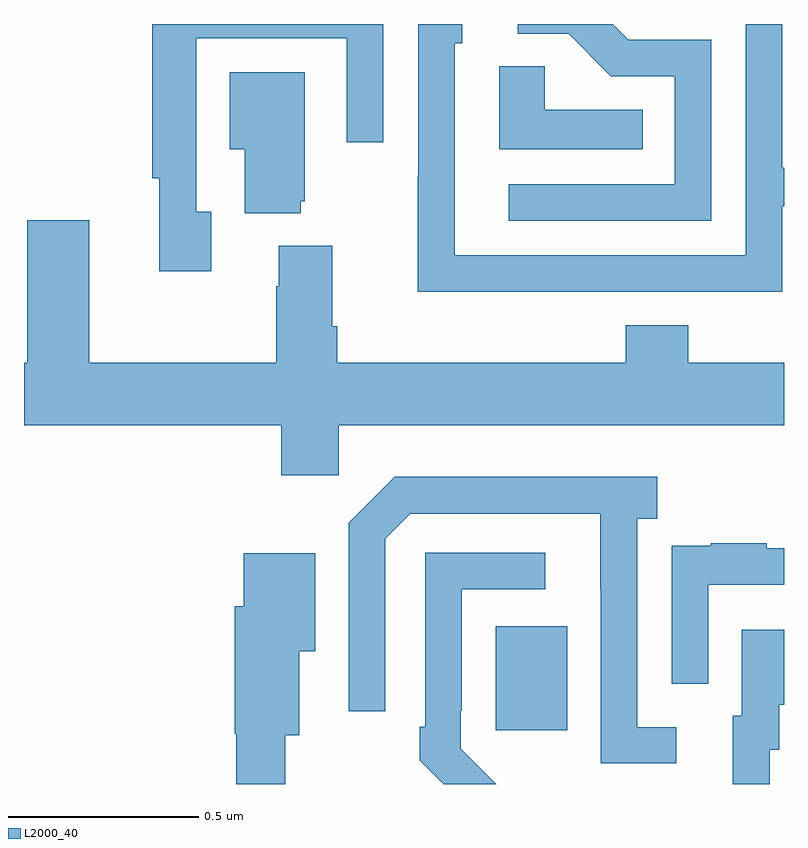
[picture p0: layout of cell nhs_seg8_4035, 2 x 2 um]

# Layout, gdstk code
import gdstk
lib = gdstk.Library(unit=1e-6, precision=1e-09)
def R(c, l, rs):  # rectangles x0, y0, x1, y1
    for r in rs: c.add(gdstk.rectangle(r[:2], r[2:], *l))
def P(c, l, *ps):  # polygons
    for p in ps: c.add(gdstk.Polygon(p, *l))
L2000_40 = (2000, 40)

nhs_seg8_4035 = lib.new_cell('nhs_seg8_4035')
R(nhs_seg8_4035, L2000_40, [(166.241,1105.041,166.429,1105.315)])
P(nhs_seg8_4035, L2000_40, [(166.499,1106.196),(166.995,1106.196),(166.995,1106.421),(167,1106.421),(167,1106.522),(166.995,1106.522),(166.995,1106.9),(166.899,1106.9),(166.899,1106.292),(166.134,1106.292),(166.134,1106.85),(166.153,1106.85),(166.153,1106.9),(166.038,1106.9),(166.038,1106.501),(166.036,1106.501),(166.036,1106.195),(166.499,1106.195)],
  [(165.493,1106.406),(165.453,1106.406),(165.453,1106.862),(165.849,1106.862),(165.849,1106.589),(165.945,1106.589),(165.945,1106.9),(165.337,1106.9),(165.337,1106.494),(165.356,1106.494),(165.356,1106.25),(165.493,1106.25)],
  [(166.809,1106.859),(166.59,1106.859),(166.549,1106.9),(166.299,1106.9),(166.299,1106.874),(166.433,1106.874),(166.544,1106.763),(166.713,1106.763),(166.713,1106.478),(166.275,1106.478),(166.275,1106.382),(166.809,1106.382)],
  [(166.628,1106.674),(166.371,1106.674),(166.371,1106.789),(166.25,1106.789),(166.25,1106.57),(166.628,1106.57)],
  [(165.728,1106.433),(165.739,1106.433),(165.739,1106.773),(165.542,1106.773),(165.542,1106.57),(165.581,1106.57),(165.581,1106.402),(165.728,1106.402)],
  [(165.828,1105.844),(167,1105.844),(167,1106.008),(166.748,1106.008),(166.748,1106.107),(166.583,1106.107),(166.583,1106.008),(165.824,1106.008),(165.824,1106.104),(165.811,1106.104),(165.811,1106.317),(165.671,1106.317),(165.671,1106.21),(165.664,1106.21),(165.664,1106.008),(165.172,1106.008),(165.172,1106.383),(165.008,1106.383),(165.008,1106.008),(165,1106.008),(165,1105.844),(165.677,1105.844),(165.677,1105.713),(165.828,1105.713)],
  [(166.717,1105.05),(166.614,1105.05),(166.614,1105.598),(166.666,1105.598),(166.666,1105.708),(165.976,1105.708),(165.855,1105.587),(165.855,1105.092),(165.951,1105.092),(165.951,1105.545),(166.017,1105.611),(166.517,1105.611),(166.517,1105.411),(166.518,1105.411),(166.518,1104.954),(166.717,1104.954)],
  [(166.8,1105.425),(167,1105.425),(167,1105.521),(166.955,1105.521),(166.955,1105.534),(166.807,1105.534),(166.807,1105.527),(166.705,1105.527),(166.705,1105.418),(166.704,1105.418),(166.704,1105.164),(166.8,1105.164)],
  [(166.149,1104.993),(166.149,1105.093),(166.152,1105.093),(166.152,1105.413),(166.372,1105.413),(166.372,1105.509),(166.056,1105.509),(166.056,1105.051),(166.041,1105.051),(166.041,1104.963),(166.104,1104.9),(166.243,1104.9)],
  [(165.688,1105.028),(165.724,1105.028),(165.724,1105.25),(165.766,1105.25),(165.766,1105.507),(165.578,1105.507),(165.578,1105.368),(165.554,1105.368),(165.554,1105.032),(165.559,1105.032),(165.559,1104.9),(165.688,1104.9)],
  [(166.962,1104.99),(166.987,1104.99),(166.987,1105.109),(167,1105.109),(167,1105.306),(166.889,1105.306),(166.889,1105.08),(166.865,1105.08),(166.865,1104.9),(166.962,1104.9)])

lib.write_gds('nhs_seg8_4035.gds')
